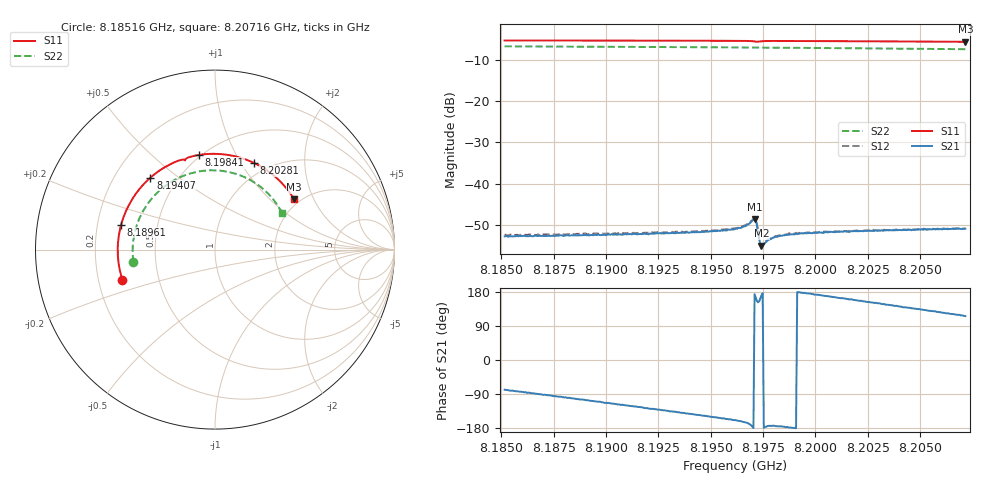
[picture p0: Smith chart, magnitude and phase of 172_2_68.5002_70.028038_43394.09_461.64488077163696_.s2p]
#  HZ  S  RI  R  50.00
! Rohde & Schwarz Vector Network Analyzer
! Rohde-Schwarz,ZNB20-2Port,1311601062101988,3.16
! Created: UTC 3/20/2024, 4:56:14 PM
! freq[Hz]  re:S11  im:S11  re:S21  im:S21  re:S12  im:S12  re:S22  im:S22
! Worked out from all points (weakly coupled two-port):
!   401 points, 8.18516 GHz to 8.20716 GHz, reference 50 ohm
!   highest |S21| = -48.58 dB at 8.19709 GHz (marker M1); lowest = -55.0 dB at 8.19742 GHz (marker M2)
!   lowest |S11| = -5.6 dB at 8.20716 GHz (marker M3), VSWR 3.19, Z = 93.1 + j71.7 ohm
!   |S11| at or under -10 dB: nowhere
!   |S22| runs from -7.4 to -6.7 dB; largest |S21 - S12| = 0.00018
!   S11 on the Smith chart (normalised r, x): 8.18516 GHz: 0.30, -0.14; 8.18961 GHz: 0.30, +0.12; 8.19407 GHz: 0.35, +0.40; 8.19841 GHz: 0.49, +0.72; 8.20281 GHz: 0.85, +1.14; 8.20716 GHz: 1.86, +1.43
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8.185158e9  -0.5161 -0.1682  0.000463 -0.00225  0.00046 -0.00235  -0.455 -0.0699
8.187083e9  -0.5409 -0.0364  -6.41e-05 -0.00232  -0.000141 -0.00243  -0.4568 0.0366
8.188843e9  -0.5346 0.0863  -0.00058 -0.0023  -0.00065 -0.00235  -0.4369 0.132
8.189613e9  -0.5231 0.1389  -0.000828 -0.00228  -0.000907 -0.00232  -0.422 0.1718
8.192528e9  -0.4334 0.3217  -0.00165 -0.00188  -0.00175 -0.00189  -0.3328 0.306
8.194068e9  -0.3598 0.401  -0.00204 -0.00156  -0.00214 -0.00154  -0.2677 0.3616
8.196158e9  -0.2364 0.482  -0.00263 -0.00103  -0.00273 -0.000916  -0.1642 0.4155
8.196543e9  -0.2107 0.4929  -0.00287 -0.000865  -0.00296 -0.000778  -0.1436 0.4222
8.196983e9  -0.1779 0.5015  -0.00353 -0.000262  -0.00361 -0.000115  -0.1197 0.4288
8.197094e9  -0.1694 0.4999  -0.0037 0.000405  -0.00375 0.00058  -0.1136 0.4302
8.197149e9  -0.167 0.4981  -0.00351 0.00094  -0.00351 0.00107  -0.1107 0.4308
8.197314e9  -0.1658 0.5016  -0.00193 0.000908  -0.0019 0.000975  -0.1019 0.4328
8.197424e9  -0.1594 0.5078  -0.00175 0.000287  -0.00171 0.000353  -0.0959 0.4343
8.197534e9  -0.1515 0.5118  -0.00184 -3.12e-05  -0.00188 7.09e-05  -0.0897 0.4354
8.197754e9  -0.1354 0.5175  -0.00206 -0.000228  -0.00211 -0.000119  -0.0776 0.4372
8.197974e9  -0.1196 0.5216  -0.0022 -0.000258  -0.00227 -0.000163  -0.0653 0.439
8.198414e9  -0.0883 0.5275  -0.00233 -0.000183  -0.00237 -0.000102  -0.0404 0.4411
8.199844e9  0.0131 0.5332  -0.00249 0.000265  -0.00255 0.000364  0.0405 0.4384
8.202814e9  0.2159 0.4836  -0.00233 0.00132  -0.00232 0.00142  0.2006 0.3854
8.203529e9  0.2606 0.4598  -0.00226 0.00156  -0.00216 0.00163  0.2357 0.3634
8.205399e9  0.3648 0.3785  -0.0018 0.00213  -0.00175 0.0022  0.3159 0.2903
8.207159e9  0.4414 0.2797  -0.00124 0.00256  -0.0012 0.00261  0.373 0.2043
